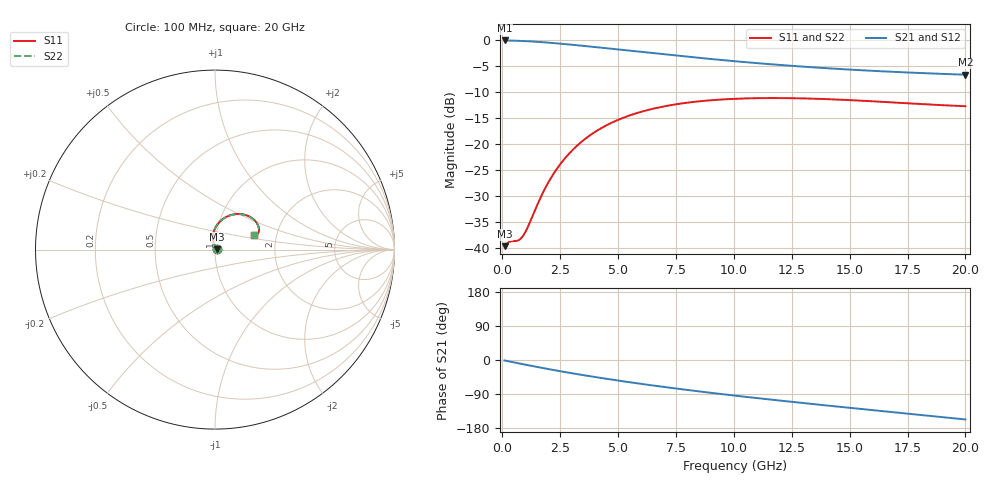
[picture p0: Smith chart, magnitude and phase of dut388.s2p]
! Touchstone file exported from HFSS 2024.1.0
!  File:  C:/UserFiles/LocalFiles/RDL_TSV_Batchsim/temp_RDL_TSV_388_1779646766.aedt
!  Generated:  02:36:28 AM May 25, 2026
!  Design:  RDL_TSV
!  Project:  temp_RDL_TSV_388_1779646766
!  Setup:  Setup1
!  Solution:  Sweep
! Variables:
!  dtsv = 5.66um
!  hbump = 3um
!  htsv = 75.62um
!  ldown = 572.38um
!  lrdl = 125.13um
!  p = 40
!  p1 = 42.93um
!  rhole = 10um
!  subl = 2217.66um
!  t = 450um
!  tdown = 4.05um
!  trdl = 4.56um
!  viad = 10um
!  wdown = 24.76um
!  wrdl = 19.81um
!  xbump = 18um
# GHz S MA R 50.000000
! Terminal data exported
! Port[1] = TM1_1_T1
! Port[2] = TM1_4_T1
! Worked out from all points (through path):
!   200 points, 100 MHz to 20 GHz, reference 50 ohm
!   highest |S21| = -0.09 dB at 100 MHz (marker M1); lowest = -6.7 dB at 20 GHz (marker M2)
!   group delay of S21, straight-line fit = 20.8 ps
!   lowest |S11| = -39.7 dB at 100 MHz (marker M3), VSWR 1.02, Z = 51 + j0.181 ohm
!   |S11| at or under -10 dB: start of sweep to end of sweep
!   |S22| runs from -39.7 to -11.2 dB; largest |S21 - S12| = 9.1e-15
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0.1  0.01035 9.9  0.9896 -1.3  0.9896 -1.3  0.01035 9.9
! Gamma 0 0 0 0
! Port Impedance 50 0 50 0
0.3  0.01139 21.4  0.9874 -3.8  0.9874 -3.8  0.01139 21.4
0.7  0.0118 46.7  0.9814 -8.7  0.9814 -8.7  0.0118 46.7
0.9  0.01301 63.6  0.9773 -11.2  0.9773 -11.2  0.01301 63.6
1.1  0.01576 78.7  0.9724 -13.6  0.9724 -13.6  0.01575 78.6
1.7  0.03195 99.6  0.9537 -20.6  0.9537 -20.6  0.03191 99.5
1.9  0.03913 101.4  0.9463 -22.9  0.9463 -22.9  0.03908 101.3
2.2  0.05093 101.8  0.9346 -26.3  0.9346 -26.3  0.05086 101.7
2.5  0.06359 100.6  0.9221 -29.6  0.9221 -29.6  0.0635 100.6
2.8  0.07677 98.6  0.9092 -32.8  0.9092 -32.8  0.07667 98.5
3.5  0.1082 92.2  0.878 -40.0  0.878 -40.0  0.108 92.2
4.2  0.1385 85.1  0.8463 -46.8  0.8463 -46.8  0.1383 85.1
4.9  0.1664 78.1  0.815 -53.3  0.815 -53.3  0.1661 78.0
5.8  0.1974 69.6  0.7761 -61.3  0.7761 -61.3  0.1971 69.5
6.8  0.2251 61.0  0.7352 -69.7  0.7352 -69.7  0.2247 61.0
8.4  0.2553 49.4  0.6761 -82.1  0.6761 -82.1  0.2549 49.4
10.1  0.2717 39.5  0.6229 -94.4  0.6229 -94.4  0.2712 39.5
11.7  0.2761 32.1  0.5815 -105.2  0.5815 -105.2  0.2755 32.1
13.4  0.2724 26.2  0.5458 -116.2  0.5458 -116.2  0.2718 26.2
15  0.2638 22.3  0.5188 -126.2  0.5188 -126.2  0.2632 22.3
16.7  0.2518 19.9  0.4958 -136.7  0.4958 -136.7  0.2511 20.0
20  0.2304 20.8  0.4632 -156.9  0.4632 -156.9  0.2298 20.8
